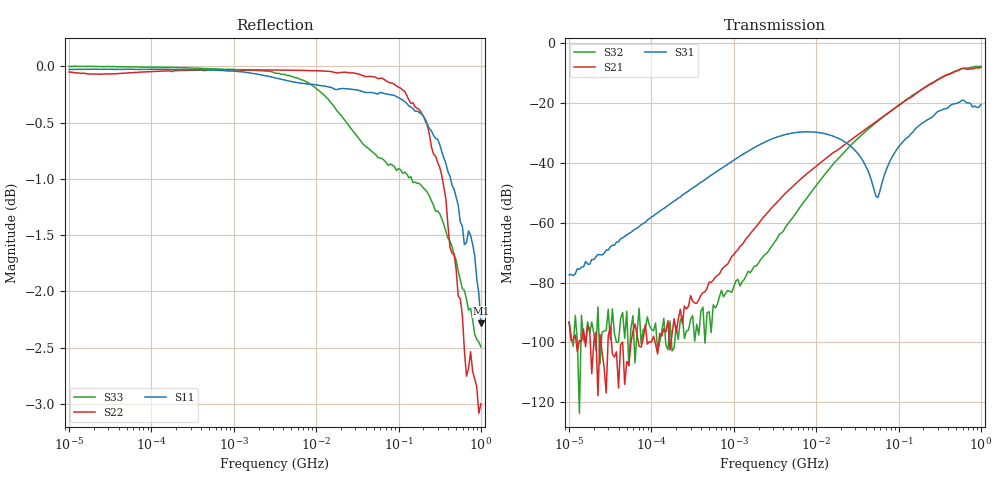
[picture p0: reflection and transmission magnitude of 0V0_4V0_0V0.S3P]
!Keysight Technologies,E5080A,MY55100144,A.11.70.03
!Date: Monday, November 13, 2017 17:25:06
!Correction: S11(Full 3 Port(1,2,3))
!S12(Full 3 Port(1,2,3))
!S13(Full 3 Port(1,2,3))
!S21(Full 3 Port(1,2,3))
!S22(Full 3 Port(1,2,3))
!S23(Full 3 Port(1,2,3))
!S31(Full 3 Port(1,2,3))
!S32(Full 3 Port(1,2,3))
!S33(Full 3 Port(1,2,3))
!S3P File: Measurements: <S11,S12,S13>,
!<S21,S22,S23>,
!<S31,S32,S33>:Log Frequency Sweep
# Hz S  RI  R 50
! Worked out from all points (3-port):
!   201 points, 10 kHz to 1 GHz, reference 50 ohm
!   strongest paths, dB at 10 kHz, 177.8 kHz, 3.162 MHz, 56.23 MHz, 1 GHz:
!     S31: -77.4, -53.2, -31.6, -51.5, -20.5
!     S21: -93.1, -97.4, -53.8, -25.7, -8.0
!     S32: -93.4, -102.9, -66.3, -26.0, -7.6
!   lowest |S11| = -2.3 dB at 1 GHz (marker M1), VSWR 7.65, Z = 382 + j0.0431 ohm
!   |S11| at or under -10 dB: nowhere
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10000  0.9967 -0.00585  1.28e-05 4.78e-06  1.32e-05 0.000122
       -2.19e-06 2.2e-05  0.4709 -0.8757  5.79e-06 -1.52e-05
       3.13e-07 0.000134  -1.15e-05 -1.81e-05  0.9998 -0.00236
50118.72  0.9966 -0.0292  2.27e-05 2.16e-05  1.47e-05 0.000615
          7.22e-07 4.71e-06  -0.7913 -0.6  2.58e-06 5.38e-07
          1.28e-05 0.000629  -3.01e-05 -1.38e-05  0.9995 -0.00565
530884.4  0.9498 -0.2996  -8.4e-05 4.41e-05  0.00134 0.00607
          -7.44e-05 6.81e-05  -0.9943 -0.0613  -8.48e-06 3.67e-05
          0.00132 0.00609  4.83e-06 1.38e-05  0.9963 -0.0512
3162278  0.0817 -0.9848  -0.00129 0.00158  0.0207 0.0164
         -0.00129 0.00158  -0.9962 0.00467  -0.000415 0.000238
         0.0209 0.0162  -0.000393 0.000282  0.9499 -0.2892
1.995262e7  -0.9395 -0.2696  -0.00106 0.0181  0.0202 -0.0141
            -0.00115 0.0181  -0.9895 0.0923  -0.00804 0.0104
            0.0203 -0.0141  -0.00803 0.0104  0.0396 -0.9504
5.623413e7  -0.9702 0.0595  0.00912 0.051  0.00251 0.000987
            0.00909 0.051  -0.953 0.2588  -0.00519 0.05
            0.00248 0.000962  -0.00514 0.0499  -0.7608 -0.5007
1.059254e8  -0.9324 0.2581  0.0377 0.0894  0.00797 0.0189
            0.0379 0.0894  -0.8606 0.4642  0.0232 0.0945
            0.00791 0.0189  0.0232 0.0944  -0.8951 -0.0909
3.758374e8  -0.3689 0.8268  0.2899 0.0331  0.081 -0.00591
            0.2902 0.0331  0.0975 0.8677  0.2896 0.0579
            0.081 -0.00593  0.2894 0.0578  -0.4872 0.6898
7.079458e8  0.4638 0.7064  0.1991 -0.3126  0.0121 -0.1013
            0.1987 -0.3129  0.6985 0.226  0.2463 -0.3032
            0.0121 -0.1014  0.2464 -0.3029  0.2566 0.7358
1e9  0.7687 2.3e-05  -0.1002 -0.3851  -0.0569 -0.0757
     -0.1007 -0.385  0.5907 -0.3905  -0.0458 -0.4147
     -0.0569 -0.0757  -0.0455 -0.4146  0.6825 0.3122
